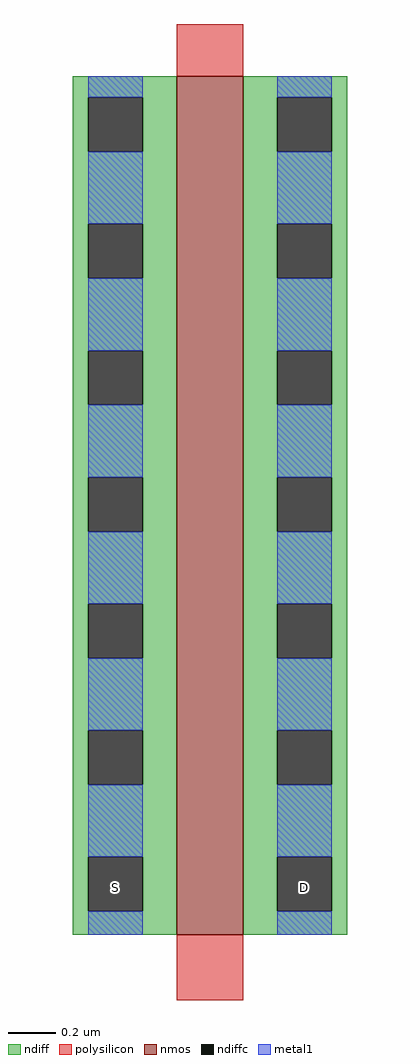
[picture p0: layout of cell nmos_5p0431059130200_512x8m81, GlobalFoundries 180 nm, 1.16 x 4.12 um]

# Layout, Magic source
magic
tech gf180mcuD
magscale 1 10
<< nmos >>
rect 0 636 56 1362
<< ndiff >>
rect -88 1344 0 1362
rect -88 1298 -75 1344
rect -29 1298 0 1344
rect -88 1237 0 1298
rect -88 1191 -75 1237
rect -29 1191 0 1237
rect -88 1130 0 1191
rect -88 1084 -75 1130
rect -29 1084 0 1130
rect -88 1023 0 1084
rect -88 977 -75 1023
rect -29 977 0 1023
rect -88 916 0 977
rect -88 870 -75 916
rect -29 870 0 916
rect -88 809 0 870
rect -88 763 -75 809
rect -29 763 0 809
rect -88 702 0 763
rect -88 656 -75 702
rect -29 656 0 702
rect -88 636 0 656
rect 56 1344 144 1362
rect 56 1298 85 1344
rect 131 1298 144 1344
rect 56 1237 144 1298
rect 56 1191 85 1237
rect 131 1191 144 1237
rect 56 1130 144 1191
rect 56 1084 85 1130
rect 131 1084 144 1130
rect 56 1023 144 1084
rect 56 977 85 1023
rect 131 977 144 1023
rect 56 916 144 977
rect 56 870 85 916
rect 131 870 144 916
rect 56 809 144 870
rect 56 763 85 809
rect 131 763 144 809
rect 56 702 144 763
rect 56 656 85 702
rect 131 656 144 702
rect 56 636 144 656
<< ndiffc >>
rect -75 1298 -29 1344
rect -75 1191 -29 1237
rect -75 1084 -29 1130
rect -75 977 -29 1023
rect -75 870 -29 916
rect -75 763 -29 809
rect -75 656 -29 702
rect 85 1298 131 1344
rect 85 1191 131 1237
rect 85 1084 131 1130
rect 85 977 131 1023
rect 85 870 131 916
rect 85 763 131 809
rect 85 656 131 702
<< polysilicon >>
rect 0 1362 56 1406
rect 0 581 56 636
<< metal1 >>
rect -75 1344 -29 1362
rect -75 1237 -29 1298
rect -75 1130 -29 1191
rect -75 1023 -29 1084
rect -75 916 -29 977
rect -75 809 -29 870
rect -75 702 -29 763
rect -75 636 -29 656
rect 85 1344 131 1362
rect 85 1237 131 1298
rect 85 1130 131 1191
rect 85 1023 131 1084
rect 85 916 131 977
rect 85 809 131 870
rect 85 702 131 763
rect 85 636 131 656
<< labels >>
flabel ndiffc -52 676 -52 676 0 FreeSans 200 0 0 0 S
flabel ndiffc 108 676 108 676 0 FreeSans 200 0 0 0 D
<< end >>
